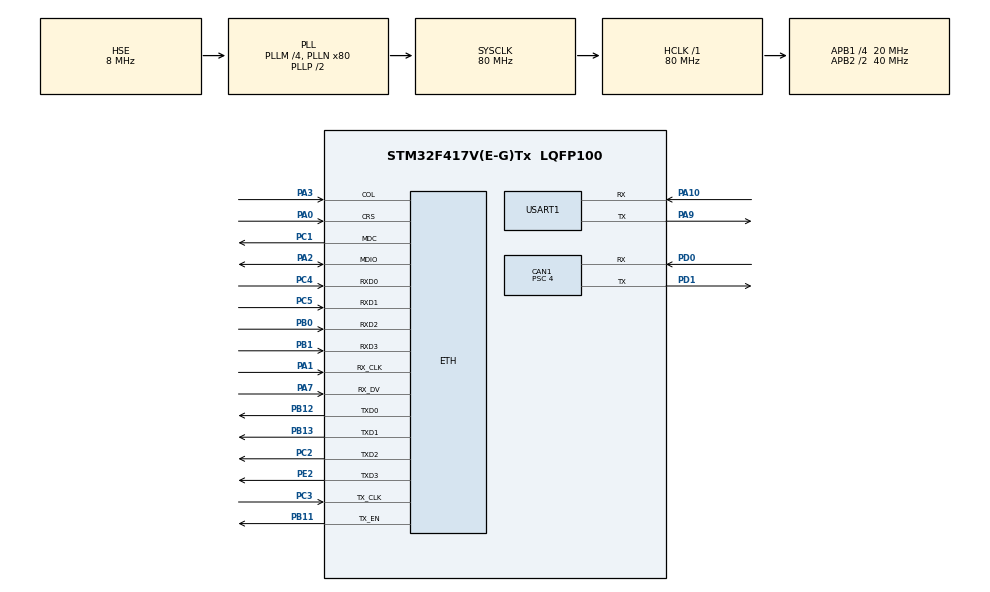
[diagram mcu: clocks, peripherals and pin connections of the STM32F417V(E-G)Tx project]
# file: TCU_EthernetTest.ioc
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CAN1.BS1=CAN_BS1_8TQ
CAN1.CalculateBaudRate=500000
CAN1.CalculateTimeBit=2000
CAN1.CalculateTimeQuantum=200.0
CAN1.Prescaler=4
ETH.MediaInterface=HAL_ETH_MII_MODE
FREERTOS.HEAP_NUMBER=1
FREERTOS.Tasks01=defaultTask,0,2048,StartDefaultTask,Default,NULL,Dynamic,NULL,NULL
FREERTOS.configTOTAL_HEAP_SIZE=64000
FREERTOS.configUSE_NEWLIB_REENTRANT=1
LWIP.BSP.number=1
LWIP.GATEWAY_ADDRESS=192.168.002.002
LWIP.IP_ADDRESS=192.168.002.036
LWIP.LWIP_DHCP=0
LWIP.NETMASK_ADDRESS=255.255.255.000
LWIP.Version=v2.1.2_Cube
LWIP0.BSP.STBoard=false
LWIP0.BSP.api=BSP_COMPONENT_DRIVER
LWIP0.BSP.component=DP83848
LWIP0.BSP.instance=DP83848
LWIP0.BSP.name=Driver_PHY
LWIP0.BSP.semaphore=S_DP83848
LWIP0.BSP.solution=DP83848
Mcu.Family=STM32F4
Mcu.Name=STM32F417V(E-G)Tx
Mcu.Package=LQFP100
NVIC.CAN1_RX0_IRQn=true\:5\:0\:false\:false\:true\:true\:true\:true\:true
NVIC.CAN1_RX1_IRQn=true\:5\:0\:false\:false\:true\:true\:true\:true\:true
NVIC.CAN1_SCE_IRQn=true\:5\:0\:false\:false\:true\:true\:true\:true\:true
NVIC.CAN1_TX_IRQn=true\:5\:0\:false\:false\:true\:true\:true\:true\:true
NVIC.ETH_IRQn=true\:5\:0\:false\:false\:true\:true\:false\:true\:true
NVIC.PriorityGroup=NVIC_PRIORITYGROUP_4
PA0-WKUP.Mode=MII
PA0-WKUP.Signal=ETH_CRS
PA1.Mode=MII
PA1.Signal=ETH_RX_CLK
PA10.Mode=Asynchronous
PA10.Signal=USART1_RX
PA13.Mode=Serial_Wire
PA13.Signal=SYS_JTMS-SWDIO
PA14.Mode=Serial_Wire
PA14.Signal=SYS_JTCK-SWCLK
PA2.Mode=MII
PA2.Signal=ETH_MDIO
PA3.Mode=MII
PA3.Signal=ETH_COL
PA7.Mode=MII
PA7.Signal=ETH_RX_DV
PA9.Mode=Asynchronous
PA9.Signal=USART1_TX
PB0.Mode=MII
PB0.Signal=ETH_RXD2
PB1.Mode=MII
PB1.Signal=ETH_RXD3
PB11.Mode=MII
PB11.Signal=ETH_TX_EN
PB12.Mode=MII
PB12.Signal=ETH_TXD0
PB13.Mode=MII
PB13.Signal=ETH_TXD1
PC1.Mode=MII
PC1.Signal=ETH_MDC
PC2.Mode=MII
PC2.Signal=ETH_TXD2
PC3.Mode=MII
PC3.Signal=ETH_TX_CLK
PC4.Mode=MII
PC4.Signal=ETH_RXD0
PC5.Mode=MII
PC5.Signal=ETH_RXD1
PD0.Mode=CAN_Activate
PD0.Signal=CAN1_RX
PD1.Mode=CAN_Activate
PD1.Signal=CAN1_TX
PE2.Mode=MII
PE2.Signal=ETH_TXD3
PH0-OSC_IN.Mode=HSE-External-Oscillator
PH0-OSC_IN.Signal=RCC_OSC_IN
PH1-OSC_OUT.Mode=HSE-External-Oscillator
PH1-OSC_OUT.Signal=RCC_OSC_OUT
ProjectManager.HeapSize=0x200
ProjectManager.StackSize=0x400
ProjectManager.TargetToolchain=STM32CubeIDE
RCC.48MHZClocksFreq_Value=40000000
RCC.AHBFreq_Value=80000000
RCC.APB1CLKDivider=RCC_HCLK_DIV4
RCC.APB1Freq_Value=20000000
RCC.APB1TimFreq_Value=40000000
RCC.APB2CLKDivider=RCC_HCLK_DIV2
RCC.APB2Freq_Value=40000000
RCC.APB2TimFreq_Value=80000000
RCC.CortexFreq_Value=80000000
RCC.HCLKFreq_Value=80000000
RCC.HSE_VALUE=8000000
RCC.HSI_VALUE=16000000
RCC.LSE_VALUE=32768
RCC.PLLM=4
RCC.PLLN=80
RCC.PLLSourceVirtual=RCC_PLLSOURCE_HSE
RCC.SYSCLKFreq_VALUE=80000000
RCC.SYSCLKSource=RCC_SYSCLKSOURCE_PLLCLK
RCC.VCOOutputFreq_Value=160000000
USART1.VirtualMode=VM_ASYNC
VP_FREERTOS_VS_CMSIS_V1.Mode=CMSIS_V1
VP_LWIP_VS_Enabled.Mode=Enabled
board=custom

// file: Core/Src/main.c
/* USER CODE BEGIN Header */
/**
  ******************************************************************************
  * @file           : main.c
  * @brief          : Main program body
  ******************************************************************************
  * @attention
  *
  * Copyright (c) 2024 STMicroelectronics.
  * All rights reserved.
  *
  * This software is licensed under terms that can be found in the LICENSE file
  * in the root directory of this software component.
  * If no LICENSE file comes with this software, it is provided AS-IS.
  *
  ******************************************************************************
  */
/* USER CODE END Header */
#include "main.h"
#include "cmsis_os.h"
#include "lwip.h"

/* USER CODE BEGIN Includes */
#include "tcpclient.h"
#include "math.h"
#include "stdio.h"
/* USER CODE END Includes */

CAN_HandleTypeDef hcan1;

UART_HandleTypeDef huart1;

osThreadId defaultTaskHandle;
/* USER CODE BEGIN PV */
struct tcp_pcb *client_pcb = NULL;
/* USER CODE END PV */

void SystemClock_Config(void);
static void MX_GPIO_Init(void);
static void MX_USART1_UART_Init(void);
static void MX_CAN1_Init(void);
void StartDefaultTask(void const * argument);

/* USER CODE BEGIN PFP */
#ifdef __GNUC__
#define PUTCHAR_PROTOTYPE int __io_putchar(int ch)
#else
#define PUTCHAR_PROTOTYPE int fputc(int ch, FILE *f)
#endif
PUTCHAR_PROTOTYPE
{
    //具体哪个串口可以更改huart1为其它串�?????????
    HAL_UART_Transmit(&huart1 , (uint8_t *)&ch, 1 , 0xffff);
    return ch;
}
/* USER CODE END PFP */

/* USER CODE BEGIN 0 */
void configCANFilters2(CAN_HandleTypeDef* canHandle){
	CAN_FilterTypeDef  sFilterConfig;

	    // Filter msgs to this nodes Id to fifo 0
	    uint32_t filterID = 1<<8;//CAN_NODE_ADDRESS
	    filterID = filterID << 3; // Filter ID is left aligned to 32 bits
	    uint32_t filterMask = 0xFF00;
	    filterMask = filterMask << 3; // Filter masks are also left aligned to 32 bits
	    sFilterConfig.FilterMode = CAN_FILTERMODE_IDMASK;
	    sFilterConfig.FilterScale = CAN_FILTERSCALE_32BIT;
	    sFilterConfig.FilterIdHigh = (filterID>>16) & 0xFFFF;
	    sFilterConfig.FilterIdLow = (filterID & 0xFFFF);
	    sFilterConfig.FilterMaskIdHigh = (filterMask>>16) & 0xFFFF;
	    sFilterConfig.FilterMaskIdLow = (filterMask & 0xFFFF);
	    sFilterConfig.FilterFIFOAssignment = 0;
	    sFilterConfig.FilterActivation = ENABLE;
	    sFilterConfig.FilterBank = 0;

	    //From the reference manual, it seems that setting SlaveStartFilterBank to 0 means all filters are used for the enabled CAN peripheral
	    //TODO: Verify this is the correct config
	    sFilterConfig.SlaveStartFilterBank = 0;
	    if(HAL_CAN_ConfigFilter(canHandle, &sFilterConfig) != HAL_OK)
	    {
	        Error_Handler();
	    }

	    // Filter msgs to the broadcast Id to fifo 0
	    filterID = 0xFF<<8;
	    filterID = filterID << 3; // Filter ID is left aligned to 32 bits
	    filterMask = 0xFF00;
	    filterMask = filterMask << 3; // Filter masks are also left aligned to 32 bits
	    sFilterConfig.FilterMode = CAN_FILTERMODE_IDMASK;
	    sFilterConfig.FilterScale = CAN_FILTERSCALE_32BIT;
	    sFilterConfig.FilterIdHigh = (filterID>>16) & 0xFFFF;
	    sFilterConfig.FilterIdLow = (filterID & 0xFFFF);
	    sFilterConfig.FilterMaskIdHigh = (filterMask>>16) & 0xFFFF;
	    sFilterConfig.FilterMaskIdLow = (filterMask & 0xFFFF);

	    sFilterConfig.FilterFIFOAssignment = 0;
	    sFilterConfig.FilterActivation = ENABLE;
	    sFilterConfig.FilterBank = 1;

	    //From the reference manual, it seems that setting SlaveStartFilterBank to 0 means all filters are used for the enabled CAN peripheral
	    //TODO: Verify this is the correct config
	    sFilterConfig.SlaveStartFilterBank = 0;
	    if(HAL_CAN_ConfigFilter(canHandle, &sFilterConfig) != HAL_OK)
	    {
	        Error_Handler();
	    }

	    // Filter msgs to the broadcast Id to fifo 0
	    filterID = 1<<12;
	    filterID = filterID << 3; // Filter ID is left aligned to 32 bits
	    filterMask = 0xFF00;
	    filterMask = filterMask << 3; // Filter masks are also left aligned to 32 bits
	    sFilterConfig.FilterMode = CAN_FILTERMODE_IDMASK;
	    sFilterConfig.FilterScale = CAN_FILTERSCALE_32BIT;
	    sFilterConfig.FilterIdHigh = (filterID>>16) & 0xFFFF;
	    sFilterConfig.FilterIdLow = (filterID & 0xFFFF);
	    sFilterConfig.FilterMaskIdHigh = (filterMask>>16) & 0xFFFF;
	    sFilterConfig.FilterMaskIdLow = (filterMask & 0xFFFF);
	    sFilterConfig.FilterFIFOAssignment = 0;
	    sFilterConfig.FilterActivation = ENABLE;
	    sFilterConfig.FilterBank = 3;

	    sFilterConfig.SlaveStartFilterBank = 0;

	    //From the reference manual, it seems that setting SlaveStartFilterBank to 0 means all filters are used for the enabled CAN peripheral
	    //TODO: Verify this is the correct config
	    if(HAL_CAN_ConfigFilter(canHandle, &sFilterConfig) != HAL_OK)
	    {
	        Error_Handler();
	    }
}
void configCANFilters(CAN_HandleTypeDef* canHandle){	//Without filtered any CAN msgs

    CAN_FilterTypeDef sFilterConfig;

    // Configure the filter to accept all messages
    sFilterConfig.FilterMode = CAN_FILTERMODE_IDMASK;
    sFilterConfig.FilterScale = CAN_FILTERSCALE_32BIT;
    sFilterConfig.FilterIdHigh = 0x0000;
    sFilterConfig.FilterIdLow = 0x0000;
    sFilterConfig.FilterMaskIdHigh = 0x0000;
    sFilterConfig.FilterMaskIdLow = 0x0000;
    sFilterConfig.FilterFIFOAssignment = 0;
    sFilterConfig.FilterActivation = ENABLE;
    sFilterConfig.FilterBank = 0;  // Use filter bank 0

    // From the reference manual, it seems that setting SlaveStartFilterBank to 0 means all filters are used for the enabled CAN peripheral
    // TODO: Verify this is the correct config
    sFilterConfig.SlaveStartFilterBank = 0;

    if (HAL_CAN_ConfigFilter(canHandle, &sFilterConfig) != HAL_OK)
    {
        Error_Handler();
    }
}
TickType_t failed = 0;
uint32_t failedNum = 0;

xQueueHandle CanMsgQueue;
typedef struct {
	uint32_t id;
	uint8_t data[8];
} CanMsg;
CanMsg fifoTmp;
volatile int32_t fifo0 = 0;
volatile int32_t fifo1 = 0;
char globalmsg[128];	//transfer msgs to string
int msg_len;
void HAL_CAN_RxFifo0MsgPendingCallback(CAN_HandleTypeDef *hcan)
{
	fifo0++;
    CAN_RxHeaderTypeDef   RxHeader;
    uint8_t               RxData[8];

    if (HAL_CAN_GetRxMessage(hcan, CAN_RX_FIFO0, &RxHeader, RxData) == HAL_OK)
    {
    	fifo0++;
    	fifo1++;
      fifoTmp.id = RxHeader.ExtId;
      memcpy(fifoTmp.data, RxData, 8*sizeof(uint8_t));
      if (xQueueSendToBackFromISR(CanMsgQueue, &fifoTmp, NULL) != pdTRUE)
      {
        if (failed == 0)
        {
          failed = xTaskGetTickCountFromISR();
          failedNum =fifo0;
        }
      }
    }
    else {
        uint8_t msg[] = "Failed to receive CAN message from FIFO0\n";
        HAL_UART_Transmit(&huart1, msg, sizeof(msg), 100);
        // handleError();
    }

    /*
        This check is essential as it was causing issues with our brake light flashing and our button presses were getting random values.
        The cause is the motor controllers who send messages with standard ID lengths. So since we are passing in RxHeader.ExtId
        the data that was being received changed but the id did not so it would call the callback of the last extended message that was processed.
        This is why we would get brake light values of 255 and button presses with multiple bits high even though that is impossible from our code.
        Props to Joseph Borromeo for squashing this 5 year old bug
    */
    // if (RxHeader.IDE == CAN_ID_EXT){  // Only parse data if it is an extended CAN frame
    //         // if (parseCANData(RxHeader.ExtId, RxData) != HAL_OK) {
    //         //     /*ERROR_PRINT_ISR("Failed to parse CAN message id 0x%lX", RxHeader.ExtId);*/
    //         // }
    // }
}

//Currently not used (we use FIFO0)
void HAL_CAN_RxFifo1MsgPendingCallback(CAN_HandleTypeDef *hcan)
{
	fifo1++;
    CAN_RxHeaderTypeDef   RxHeader;
    uint8_t               RxData[8];

    if (HAL_CAN_GetRxMessage(hcan, CAN_RX_FIFO1, &RxHeader, RxData) != HAL_OK)
    {
        uint8_t msg[] = "Failed to receive CAN message from FIFO1\n";
        HAL_UART_Transmit(&huart1, msg, sizeof(msg), 100);
        // handleError();
    }

    // if (RxHeader.IDE == CAN_ID_EXT){  // Only parse data if it is an extended CAN frame
    //         if (parseCANData(RxHeader.ExtId, RxData) != HAL_OK) {
    //             /*ERROR_PRINT_ISR("Failed to parse CAN message id 0x%lX", RxHeader.ExtId);*/
    //         }
    // }
}
/* USER CODE END 0 */

int main(void)
{

  /* MCU Configuration--------------------------------------------------------*/

  /* Reset of all peripherals, Initializes the Flash interface and the Systick. */
  HAL_Init();

  /* Configure the system clock */
  SystemClock_Config();

  /* Initialize all configured peripherals */
  MX_GPIO_Init();
  MX_USART1_UART_Init();
  MX_CAN1_Init();
  /* USER CODE BEGIN 2 */
  configCANFilters(&hcan1);

  /* USER CODE END 2 */

  /* Create the thread(s) */
  /* definition and creation of defaultTask */
  osThreadDef(defaultTask, StartDefaultTask, osPriorityRealtime, 0, 2048);
  defaultTaskHandle = osThreadCreate(osThread(defaultTask), NULL);

  /* Start scheduler */
  osKernelStart();

  /* We should never get here as control is now taken by the scheduler */
  /* Infinite loop */
  while (1)
  {

  }
}

void SystemClock_Config(void)
{
  RCC_OscInitTypeDef RCC_OscInitStruct = {0};
  RCC_ClkInitTypeDef RCC_ClkInitStruct = {0};

  /** Configure the main internal regulator output voltage
  */
  __HAL_RCC_PWR_CLK_ENABLE();
  __HAL_PWR_VOLTAGESCALING_CONFIG(PWR_REGULATOR_VOLTAGE_SCALE1);

  /** Initializes the RCC Oscillators according to the specified parameters
  * in the RCC_OscInitTypeDef structure.
  */
  RCC_OscInitStruct.OscillatorType = RCC_OSCILLATORTYPE_HSE;
  RCC_OscInitStruct.HSEState = RCC_HSE_ON;
  RCC_OscInitStruct.PLL.PLLState = RCC_PLL_ON;
  RCC_OscInitStruct.PLL.PLLSource = RCC_PLLSOURCE_HSE;
  RCC_OscInitStruct.PLL.PLLM = 4;
  RCC_OscInitStruct.PLL.PLLN = 80;
  RCC_OscInitStruct.PLL.PLLP = RCC_PLLP_DIV2;
  RCC_OscInitStruct.PLL.PLLQ = 4;
  if (HAL_RCC_OscConfig(&RCC_OscInitStruct) != HAL_OK)
  {
    Error_Handler();
  }

  /** Initializes the CPU, AHB and APB buses clocks
  */
  RCC_ClkInitStruct.ClockType = RCC_CLOCKTYPE_HCLK|RCC_CLOCKTYPE_SYSCLK
                              |RCC_CLOCKTYPE_PCLK1|RCC_CLOCKTYPE_PCLK2;
  RCC_ClkInitStruct.SYSCLKSource = RCC_SYSCLKSOURCE_PLLCLK;
  RCC_ClkInitStruct.AHBCLKDivider = RCC_SYSCLK_DIV1;
  RCC_ClkInitStruct.APB1CLKDivider = RCC_HCLK_DIV4;
  RCC_ClkInitStruct.APB2CLKDivider = RCC_HCLK_DIV2;

  if (HAL_RCC_ClockConfig(&RCC_ClkInitStruct, FLASH_LATENCY_2) != HAL_OK)
  {
    Error_Handler();
  }
}

static void MX_CAN1_Init(void)
{

  hcan1.Instance = CAN1;
  hcan1.Init.Prescaler = 4;
  hcan1.Init.Mode = CAN_MODE_NORMAL;
  hcan1.Init.SyncJumpWidth = CAN_SJW_1TQ;
  hcan1.Init.TimeSeg1 = CAN_BS1_8TQ;
  hcan1.Init.TimeSeg2 = CAN_BS2_1TQ;
  hcan1.Init.TimeTriggeredMode = DISABLE;
  hcan1.Init.AutoBusOff = DISABLE;
  hcan1.Init.AutoWakeUp = DISABLE;
  hcan1.Init.AutoRetransmission = DISABLE;
  hcan1.Init.ReceiveFifoLocked = DISABLE;
  hcan1.Init.TransmitFifoPriority = DISABLE;
  if (HAL_CAN_Init(&hcan1) != HAL_OK)
  {
    Error_Handler();
  }

}

static void MX_USART1_UART_Init(void)
{

  huart1.Instance = USART1;
  huart1.Init.BaudRate = 115200;
  huart1.Init.WordLength = UART_WORDLENGTH_8B;
  huart1.Init.StopBits = UART_STOPBITS_1;
  huart1.Init.Parity = UART_PARITY_NONE;
  huart1.Init.Mode = UART_MODE_TX_RX;
  huart1.Init.HwFlowCtl = UART_HWCONTROL_NONE;
  huart1.Init.OverSampling = UART_OVERSAMPLING_16;
  if (HAL_UART_Init(&huart1) != HAL_OK)
  {
    Error_Handler();
  }

}

static void MX_GPIO_Init(void)
{

  /* GPIO Ports Clock Enable */
  __HAL_RCC_GPIOE_CLK_ENABLE();
  __HAL_RCC_GPIOH_CLK_ENABLE();
  __HAL_RCC_GPIOC_CLK_ENABLE();
  __HAL_RCC_GPIOA_CLK_ENABLE();
  __HAL_RCC_GPIOB_CLK_ENABLE();
  __HAL_RCC_GPIOD_CLK_ENABLE();

}

void StartDefaultTask(void const * argument)
{
	printf("LWIP");
  /* init code for LWIP */
  MX_LWIP_Init();
  /* USER CODE BEGIN 5 */
  //  TCP_Client_Init();
	printf("Creating Q\r\n");
	//  vTaskDelay(pdMS_TO_TICKS(3000));
  CanMsgQueue = xQueueCreate(4000, sizeof(CanMsg)); // Good to 72%
  if( CanMsgQueue == NULL )
  {
//	  while(1)
//	  {
		  uint8_t msg[] = "Failed to create CAN queue\r\n";
		  HAL_UART_Transmit(&huart1, msg, sizeof(msg), 100);
		  vTaskDelay(pdMS_TO_TICKS(1000));
		  HAL_UART_Transmit(&huart1, msg, sizeof(msg), 100);
//	  }
  }
  printf("Create TCP client\r\n");
  //  vTaskDelay(pdMS_TO_TICKS(1000)); // maybe the init is not finished yet
  int soctemp=create_tcp_client(); //$

  // Enable CAN reception after successful socket connection
  printf("enabling CAN reception\r\n");
  if (HAL_CAN_Start(&hcan1) != HAL_OK) {
	  uint8_t msg[] = "Failed to start CAN!\n";
	  HAL_UART_Transmit(&huart1, msg, sizeof(msg), 100);
	  return;
  }

  if (HAL_CAN_ActivateNotification(&hcan1, CAN_IT_RX_FIFO0_MSG_PENDING) != HAL_OK) {
	  uint8_t msg[] = "Error starting to listen for CAN msgs from FIFO0\n";
	  HAL_UART_Transmit(&huart1, msg, sizeof(msg), 100);
	  return;
  }

  if (HAL_CAN_ActivateNotification(&hcan1, CAN_IT_RX_FIFO1_MSG_PENDING) != HAL_OK) {
	  uint8_t msg[] = "Error starting to listen for CAN msgs from FIFO1\n";
	  HAL_UART_Transmit(&huart1, msg, sizeof(msg), 100);
	  return;
  }

  CanMsg rxMsg;
  const uint16_t buffSize = 3000;
  uint8_t buffer[buffSize];
  memset(buffer, 0, buffSize*sizeof(uint8_t));
  const uint8_t logging_line_len = 35;//with comma
    /* Infinite loop */

    while(1) {
      uint32_t bufferFilled = 0U;
      for (uint16_t loop = 0; loop < buffSize/logging_line_len; loop++)
      {
        if (xQueueReceive(CanMsgQueue, &rxMsg, 100) == pdTRUE)
        {
          sprintf(&buffer[loop*logging_line_len], ",%08lXx%08lX%02X%02X%02X%02X%02X%02X%02X%02X\n", xTaskGetTickCount(), rxMsg.id, rxMsg.data[0], rxMsg.data[1], rxMsg.data[2], rxMsg.data[3], rxMsg.data[4], rxMsg.data[5], rxMsg.data[6], rxMsg.data[7]);
          fifo1--;
          bufferFilled += logging_line_len;
        }
        else
        {
          printf("Q Empty\n");
          break;
        }
      }
      if (bufferFilled != 0)
      {
    	  tcp_client_send(soctemp, buffer, bufferFilled);
      }
      if (failed != 0)
      {
        printf("failed: %lu %lu\r\n", failed, failedNum);
      }
      printf("can: %ld %ld\r\n", fifo0, fifo1);

    	HAL_GPIO_TogglePin(GPIOB, GPIO_PIN_0);
    }
  /* USER CODE END 5 */
}
void Error_Handler(void)
{
  __disable_irq();
  while (1)
  {
  }
}
